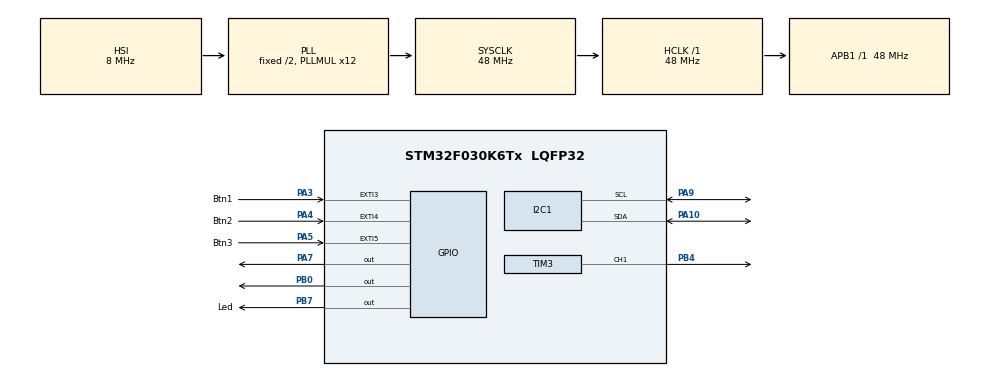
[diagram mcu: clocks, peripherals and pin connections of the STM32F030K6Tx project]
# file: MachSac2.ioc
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Mcu.Family=STM32F0
Mcu.Name=STM32F030K6Tx
Mcu.Package=LQFP32
NVIC.EXTI2_3_IRQn=true\:1\:0\:true\:false\:true\:true\:true\:true
NVIC.EXTI4_15_IRQn=true\:1\:0\:true\:false\:true\:true\:true\:true
PA10.Mode=I2C
PA10.Signal=I2C1_SDA
PA13.Mode=Serial_Wire
PA13.Signal=SYS_SWDIO
PA14.Mode=Serial_Wire
PA14.Signal=SYS_SWCLK
PA3.GPIO_Label=Btn1
PA3.GPIO_ModeDefaultEXTI=GPIO_MODE_IT_FALLING
PA3.GPIO_PuPd=GPIO_PULLUP
PA3.Signal=GPXTI3
PA4.GPIO_Label=Btn2
PA4.GPIO_ModeDefaultEXTI=GPIO_MODE_IT_FALLING
PA4.GPIO_PuPd=GPIO_PULLUP
PA4.Signal=GPXTI4
PA5.GPIO_Label=Btn3
PA5.GPIO_ModeDefaultEXTI=GPIO_MODE_IT_FALLING
PA5.GPIO_PuPd=GPIO_PULLUP
PA5.Signal=GPXTI5
PA7.Signal=GPIO_Output
PA9.Mode=I2C
PA9.Signal=I2C1_SCL
PB0.Signal=GPIO_Output
PB4.Signal=S_TIM3_CH1
PB7.GPIO_Label=Led
PB7.Signal=GPIO_Output
ProjectManager.HeapSize=0x200
ProjectManager.StackSize=0x400
ProjectManager.TargetToolchain=MDK-ARM V5.32
RCC.AHBFreq_Value=48000000
RCC.APB1Freq_Value=48000000
RCC.APB1TimFreq_Value=48000000
RCC.HCLKFreq_Value=48000000
RCC.PLLMUL=RCC_PLL_MUL12
RCC.SYSCLKFreq_VALUE=48000000
RCC.SYSCLKSource=RCC_SYSCLKSOURCE_PLLCLK
SH.S_TIM3_CH1.0=TIM3_CH1,PWM Generation1 CH1
TIM3.Channel-PWM\ Generation1\ CH1=TIM_CHANNEL_1
TIM3.Period=999
TIM3.Prescaler=47
board=custom

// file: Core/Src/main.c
/* USER CODE BEGIN Header */
/**
 ******************************************************************************
 * @file           : main.c
 * @brief          : Main program body
 ******************************************************************************
 * @attention
 *
 * Copyright (c) 2023 STMicroelectronics.
 * All rights reserved.
 *
 * This software is licensed under terms that can be found in the LICENSE file
 * in the root directory of this software component.
 * If no LICENSE file comes with this software, it is provided AS-IS.
 *
 ******************************************************************************
 */
/* USER CODE END Header */
#include "main.h"
#include "i2c.h"
#include "tim.h"
#include "gpio.h"

/* USER CODE BEGIN Includes */
#include <stdio.h>
#include "ssd1306.h"
/* USER CODE END Includes */

void SystemClock_Config(void);

/* USER CODE BEGIN 0 */
uint32_t u32StartedTick;
BatteryLevel_t eBattery;
Time sTime;
uint16_t u16AdcValue = 0;
uint8_t u8DutyCycle = 0;

uint8_t u8Btn1Cnt = 0;
uint8_t u8Btn2Cnt = 0;
uint8_t u8Btn3Cnt = 0;
uint8_t u8ToggleOled = 0;
/* USER CODE END 0 */

int main(void)
{

	/* MCU Configuration--------------------------------------------------------*/

	/* Reset of all peripherals, Initializes the Flash interface and the Systick. */
	HAL_Init();

	/* Configure the system clock */
	SystemClock_Config();

	/* Initialize all configured peripherals */
	MX_GPIO_Init();
	MX_I2C1_Init();
	MX_TIM3_Init();
	/* USER CODE BEGIN 2 */
	// Init User application param
	systemInit();

	// Pwm for motor
	HAL_TIM_PWM_Start(&htim3, TIM_CHANNEL_1);

	// Init Oled and fill Black
	//  ssd1306_Init();
	//  ssd1306_Fill(Black);
	//  ssd1306_UpdateScreen();

	initW064048();
	initWindow(1, 50, 1, 5);

	u32StartedTick = HAL_GetTick();
	/* USER CODE END 2 */

	/* Infinite loop */
	while (1)
	{

		/* USER CODE BEGIN 3 */
		// For clock
		if (HAL_GetTick() - u32StartedTick > 1000)
		{
			u32StartedTick = HAL_GetTick();
			// sTime.u8Second++;
			// adjustTime(&sTime);
			// ssd1306_PrintTime(&sTime);
			HAL_GPIO_TogglePin(GPIOB, GPIO_PIN_7);
			ssd1306_SetDisplayOn(u8ToggleOled);
			if (u8ToggleOled == 0)
			{
				u8ToggleOled = 1;
			}
			else
			{
				u8ToggleOled = 0;
			}
		}

		// For Battery
		//  HAL_ADC_Start(&hadc1);
		//  HAL_ADC_PollForConversion(&hadc1, 300);
		//  u16AdcValue = HAL_ADC_GetValue(&hadc1);
		//  HAL_ADC_Stop(&hadc1);
		//  eBattery = calculateBatteryLevel(u16AdcValue);
		//  ssd1306_PrintBattery(eBattery);

		// Control Motor
		__HAL_TIM_SetCompare(&htim3, TIM_CHANNEL_1, u8DutyCycle);
		u8DutyCycle++;
		if (u8DutyCycle > 50)
		{
			u8DutyCycle = 0;
		}
		HAL_Delay(100);
	}
	/* USER CODE END 3 */
}

void SystemClock_Config(void)
{
	RCC_OscInitTypeDef RCC_OscInitStruct = {0};
	RCC_ClkInitTypeDef RCC_ClkInitStruct = {0};
	RCC_PeriphCLKInitTypeDef PeriphClkInit = {0};

	/** Initializes the RCC Oscillators according to the specified parameters
	 * in the RCC_OscInitTypeDef structure.
	 */
	RCC_OscInitStruct.OscillatorType = RCC_OSCILLATORTYPE_HSI;
	RCC_OscInitStruct.HSIState = RCC_HSI_ON;
	RCC_OscInitStruct.HSICalibrationValue = RCC_HSICALIBRATION_DEFAULT;
	RCC_OscInitStruct.PLL.PLLState = RCC_PLL_ON;
	RCC_OscInitStruct.PLL.PLLSource = RCC_PLLSOURCE_HSI;
	RCC_OscInitStruct.PLL.PLLMUL = RCC_PLL_MUL12;
	RCC_OscInitStruct.PLL.PREDIV = RCC_PREDIV_DIV1;
	if (HAL_RCC_OscConfig(&RCC_OscInitStruct) != HAL_OK)
	{
		Error_Handler();
	}

	/** Initializes the CPU, AHB and APB buses clocks
	 */
	RCC_ClkInitStruct.ClockType = RCC_CLOCKTYPE_HCLK | RCC_CLOCKTYPE_SYSCLK | RCC_CLOCKTYPE_PCLK1;
	RCC_ClkInitStruct.SYSCLKSource = RCC_SYSCLKSOURCE_PLLCLK;
	RCC_ClkInitStruct.AHBCLKDivider = RCC_SYSCLK_DIV1;
	RCC_ClkInitStruct.APB1CLKDivider = RCC_HCLK_DIV1;

	if (HAL_RCC_ClockConfig(&RCC_ClkInitStruct, FLASH_LATENCY_1) != HAL_OK)
	{
		Error_Handler();
	}
	PeriphClkInit.PeriphClockSelection = RCC_PERIPHCLK_I2C1;
	PeriphClkInit.I2c1ClockSelection = RCC_I2C1CLKSOURCE_HSI;
	if (HAL_RCCEx_PeriphCLKConfig(&PeriphClkInit) != HAL_OK)
	{
		Error_Handler();
	}
}

/* USER CODE BEGIN 4 */
void systemInit(void)
{
	eBattery = BATTERY_LEVEL_0;
	sTime.u8Hour = 0;
	sTime.u8Minute = 0;
	sTime.u8Second = 0;
}

uint8_t ssd1306_PrintBattery(BatteryLevel_t eBatteryLevel)
{
	// if (eBatteryLevel > 100)
	// {
	// 	return 0;
	// }
	// //Clear battery region
	// ssd1306_FillRectangle(3,3,13,61,Black);
	// ssd1306_FillRectangle(40,10,127,36,Black);

	// //Visable Batterry Level
	// char BatteryStr[4] = {0};
	// sprintf(BatteryStr, "%d%%", eBatteryLevel);
	// ssd1306_SetCursor(40,10);
	// ssd1306_WriteString(BatteryStr, Font_16x26, White);

	// //Visable Batterry Column
	// if (eBatteryLevel == BATTERY_LEVEL_0)
	// {
	// 	ssd1306_DrawRectangle(3,3,13,13,White);
	// 	ssd1306_DrawRectangle(3,19,13,29,White);
	// 	ssd1306_DrawRectangle(3,35,13,45,White);
	// 	ssd1306_DrawRectangle(3,51,13,61,White);
	// }
	// else if (eBatteryLevel <= BATTERY_LEVEL_25)
	// {
	// 	ssd1306_DrawRectangle(3,3,13,13,White);
	// 	ssd1306_DrawRectangle(3,19,13,29,White);
	// 	ssd1306_DrawRectangle(3,35,13,45,White);
	// 	ssd1306_FillRectangle(3,51,13,61,White);
	// }
	// else if (eBatteryLevel <= BATTERY_LEVEL_50)
	// {
	// 	ssd1306_DrawRectangle(3,3,13,13,White);
	// 	ssd1306_DrawRectangle(3,19,13,29,White);
	// 	ssd1306_FillRectangle(3,35,13,45,White);
	// 	ssd1306_FillRectangle(3,51,13,61,White);
	// }
	// else if (eBatteryLevel <= BATTERY_LEVEL_75)
	// {
	// 	ssd1306_DrawRectangle(3,3,13,13,White);
	// 	ssd1306_FillRectangle(3,19,13,29,White);
	// 	ssd1306_FillRectangle(3,35,13,45,White);
	// 	ssd1306_FillRectangle(3,51,13,61,White);
	// }
	// else if (eBatteryLevel <= BATTERY_LEVEL_100)
	// {
	// 	ssd1306_FillRectangle(3,3,13,13,White);
	// 	ssd1306_FillRectangle(3,19,13,29,White);
	// 	ssd1306_FillRectangle(3,35,13,45,White);
	// 	ssd1306_FillRectangle(3,51,13,61,White);
	// }

	// ssd1306_UpdateScreen();

	return 1;
}

void adjustTime(Time *sTime)
{
	if (sTime->u8Second > 59)
	{
		sTime->u8Second = 0;
		sTime->u8Minute++;
	}

	if (sTime->u8Minute > 59)
	{
		sTime->u8Minute = 0;
		sTime->u8Hour++;
	}

	if (sTime->u8Hour > 99)
	{
		sTime->u8Hour = 0;
	}
}

BatteryLevel_t calculateBatteryLevel(uint16_t u16AdcVal)
{
	return (BatteryLevel_t)(u16AdcVal / 40);
}

void ssd1306_PrintTime(Time *sTime)
{
	// Validate input
	//  if ((sTime->u8Minute > 59) || (sTime->u8Second > 59))
	//  	return;

	// char Temp[9] = "00:10:08";
	// sprintf(Temp, "%02d:%02d:%02d", sTime->u8Hour, sTime->u8Minute, sTime->u8Second);
	// ssd1306_SetCursor(25,45);
	// ssd1306_WriteString(Temp, Font_11x18, White);
	// ssd1306_UpdateScreen();
}

void HAL_GPIO_EXTI_Callback(uint16_t GPIO_Pin)
{
	if (GPIO_Pin == Btn1_Pin)
	{
		u8Btn1Cnt++;
	}
	else if (GPIO_Pin == Btn2_Pin)
	{
		u8Btn2Cnt++;
	}
	else if (GPIO_Pin == Btn3_Pin)
	{
		u8Btn3Cnt++;
	}
}
/* USER CODE END 4 */

void Error_Handler(void)
{
	__disable_irq();
	while (1)
	{
	}
}
